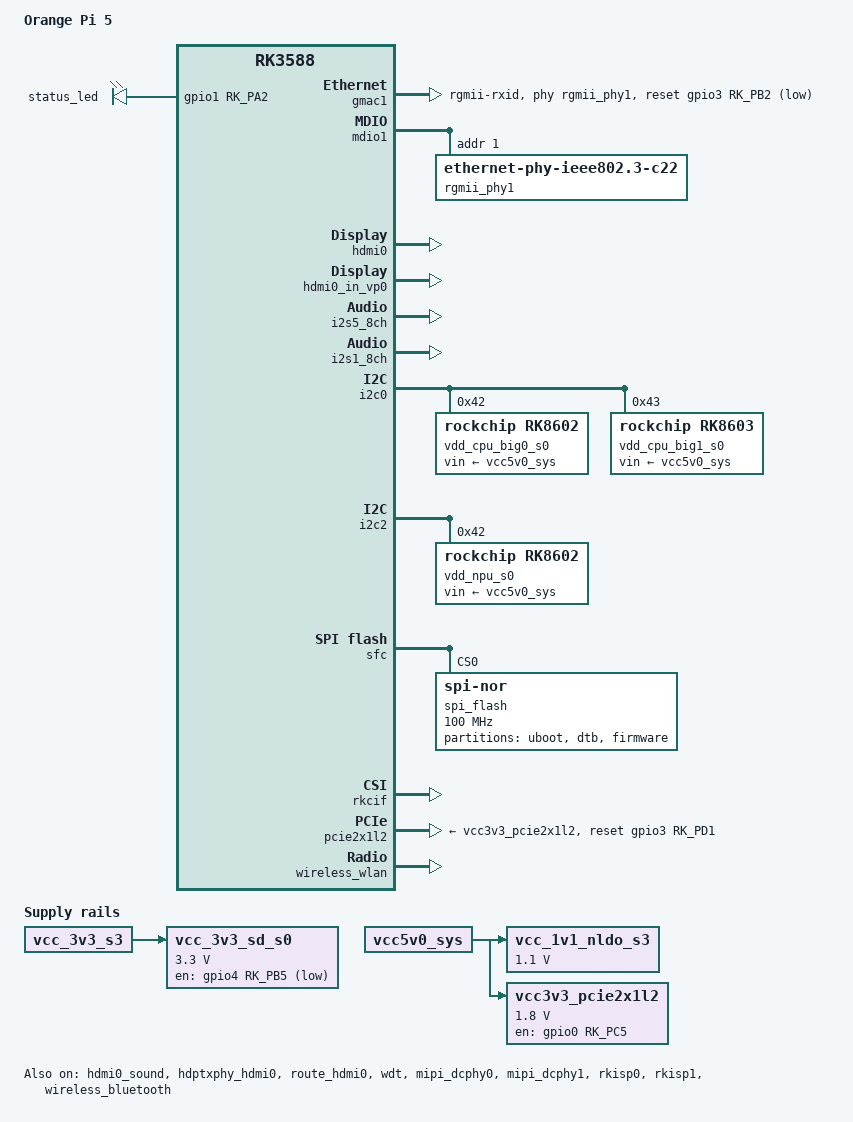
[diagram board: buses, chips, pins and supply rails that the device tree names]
// SPDX-License-Identifier: (GPL-2.0+ OR MIT)
/*
 * Copyright (c) 2021 Rockchip Electronics Co., Ltd.
 *
 */

/dts-v1/;

#include "rk3588s-orangepi-5.dtsi"
#include "rk3588-linux.dtsi"
#include "rk3588s-orangepi-5-lcd.dtsi"

#include "rk3588s-orangepi-5-camera1.dtsi"
#include "rk3588s-orangepi-5-camera2.dtsi"
#include "rk3588s-orangepi-5-camera3.dtsi"

/ {
	model = "Orange Pi 5";
	compatible = "rockchip,rk3588s-orangepi-5", "rockchip,rk3588";

	vcc_3v3_sd_s0: vcc-3v3-sd-s0 {
		compatible = "regulator-fixed";
		regulator-name = "vcc_3v3_sd_s0";
		regulator-min-microvolt = <3300000>;
		regulator-max-microvolt = <3300000>;
		gpios = <&gpio4 RK_PB5 GPIO_ACTIVE_LOW>;
		enable-active-low;
		vin-supply = <&vcc_3v3_s3>;
		regulator-state-mem {
			regulator-off-in-suspend;
		};
	};

	vcc_1v1_nldo_s3: vcc-1v1-nldo-s3 {
		compatible = "regulator-fixed";
		regulator-name = "vcc_1v1_nldo_s3";
		regulator-always-on;
		regulator-boot-on;
		regulator-min-microvolt = <1100000>;
		regulator-max-microvolt = <1100000>;
		vin-supply = <&vcc5v0_sys>;
	};

	vcc3v3_pcie2x1l2: vcc3v3-pcie2x1l2 {
		compatible = "regulator-fixed";
		regulator-name = "vcc3v3_pcie2x1l2";
		regulator-min-microvolt = <1800000>;
		regulator-max-microvolt = <1800000>;
		enable-active-high;
		regulator-boot-on;
		regulator-always-on;
		gpios = <&gpio0 RK_PC5 GPIO_ACTIVE_HIGH>;
		startup-delay-us = <50000>;
		vin-supply = <&vcc5v0_sys>;
	};

	leds: gpio-leds {
		compatible = "gpio-leds";
		pinctrl-names = "default";
		pinctrl-0 =<&leds_gpio>;
		status = "okay";

		led@1 {
			gpios = <&gpio1 RK_PA2 GPIO_ACTIVE_HIGH>;
			label = "status_led";
			linux,default-trigger = "heartbeat";
			linux,default-trigger-delay-ms = <0>;
		};
	};
};

&gmac1 {
	/* Use rgmii-rxid mode to disable rx delay inside Soc */
	phy-mode = "rgmii-rxid";
	clock_in_out = "output";

	snps,reset-gpio = <&gpio3 RK_PB2 GPIO_ACTIVE_LOW>;
	snps,reset-active-low;
	/* Reset time is 20ms, 100ms for rtl8211f */
	snps,reset-delays-us = <0 20000 100000>;

	pinctrl-names = "default";
	pinctrl-0 = <&gmac1_miim
	             &gmac1_tx_bus2
	             &gmac1_rx_bus2
	             &gmac1_rgmii_clk
	             &gmac1_rgmii_bus>;

	tx_delay = <0x42>;
	/* rx_delay = <0x3f>; */

	phy-handle = <&rgmii_phy1>;
	status = "okay";
};

&mdio1 {
	rgmii_phy1: phy@1 {
		compatible = "ethernet-phy-ieee802.3-c22";
		reg = <0x1>;
	};
};

&hdmi0 {
	enable-gpios = <&gpio4 RK_PB6 GPIO_ACTIVE_HIGH>;
	cec-enable;
	status = "okay";
};

&hdmi0_in_vp0 {
	status = "okay";
};

&hdmi0_sound {
	status = "okay";
};

&hdptxphy_hdmi0 {
	status = "okay";
};

&route_hdmi0{
	status = "okay";
};

&i2s5_8ch {
	status = "okay";
};

&i2s1_8ch {
	status = "okay";
	rockchip,i2s-tx-route = <3 2 1 0>;
	rockchip,i2s-rx-route = <1 3 2 0>;
	pinctrl-names = "default";
	pinctrl-0 = <&i2s1m0_sclk
	             &i2s1m0_lrck
	             &i2s1m0_sdi1
	             &i2s1m0_sdo3>;
};

&i2c0 {
	status = "okay";
	pinctrl-names = "default";
	pinctrl-0 = <&i2c0m2_xfer>;

	vdd_cpu_big0_s0: vdd_cpu_big0_mem_s0: rk8602@42 {
		compatible = "rockchip,rk8602";
		reg = <0x42>;
		vin-supply = <&vcc5v0_sys>;
		regulator-compatible = "rk860x-reg";
		regulator-name = "vdd_cpu_big0_s0";
		regulator-min-microvolt = <550000>;
		regulator-max-microvolt = <1050000>;
		regulator-ramp-delay = <2300>;
		rockchip,suspend-voltage-selector = <1>;
		regulator-boot-on;
		regulator-always-on;
		regulator-state-mem {
			regulator-off-in-suspend;
		};
	};

	vdd_cpu_big1_s0: vdd_cpu_big1_mem_s0: rk8603@43 {
		compatible = "rockchip,rk8603";
		reg = <0x43>;
		vin-supply = <&vcc5v0_sys>;
		regulator-compatible = "rk860x-reg";
		regulator-name = "vdd_cpu_big1_s0";
		regulator-min-microvolt = <550000>;
		regulator-max-microvolt = <1050000>;
		regulator-ramp-delay = <2300>;
		rockchip,suspend-voltage-selector = <1>;
		regulator-boot-on;
		regulator-always-on;
		regulator-state-mem {
			regulator-off-in-suspend;
		};
	};
};

&i2c2 {
	status = "okay";

	vdd_npu_s0: vdd_npu_mem_s0: rk8602@42 {
		compatible = "rockchip,rk8602";
		reg = <0x42>;
		vin-supply = <&vcc5v0_sys>;
		regulator-compatible = "rk860x-reg";
		regulator-name = "vdd_npu_s0";
		regulator-min-microvolt = <550000>;
		regulator-max-microvolt = <950000>;
		regulator-ramp-delay = <2300>;
		rockchip,suspend-voltage-selector = <1>;
		regulator-boot-on;
		regulator-always-on;
		regulator-state-mem {
			regulator-off-in-suspend;
		};
	};
};

/*
   pin3: GPIO1_B7
   pin5: GPIO1_B6
*/
&i2c5 {
	status = "disabled";
	pinctrl-names = "default";
	pinctrl-0 = <&i2c5m3_xfer>;
};

&uart1 {
	status = "disabled";
	pinctrl-names = "default";
	pinctrl-0 = <&uart1m1_xfer>;
};

&pwm13 {
	status = "disabled";
	pinctrl-names = "active";
	pinctrl-0 = <&pwm13m2_pins>;
};

/*
   pin7: GPIO1_C6
*/
&pwm15 {
	status = "disabled";
	pinctrl-names = "active";
	pinctrl-0 = <&pwm15m2_pins>;
};

/*
   pin11: GPIO4_B2
   pin13: GPIO4_B3
*/
&pwm14 {
	status = "disabled";
	pinctrl-names = "active";
	pinctrl-0 = <&pwm14m1_pins>;
};

&can1 {
	status = "disabled";
	pinctrl-names = "default";
	pinctrl-0 = <&can1m1_pins>;
	assigned-clocks = <&cru CLK_CAN1>;
	assigned-clock-rates = <200000000>;
};

/*
   pin15: GPIO0_D4
   pin12: GPIO0_D5
*/
&can2 {
	status = "disabled";
	pinctrl-names = "default";
	pinctrl-0 = <&can2m1_pins>;
	assigned-clocks = <&cru CLK_CAN2>;
	assigned-clock-rates = <200000000>;
};

/*
   pin19: GPIO1_C1
   pin21: GPIO1_C0
   pin23: GPIO1_C2
   pin24: GPIO1_C4
*/
&spi4 {
	status = "disabled";
	pinctrl-names = "default";
	pinctrl-0 = <&spi4m0_cs1 &spi4m0_pins>;
	assigned-clocks = <&cru CLK_SPI4>;
	assigned-clock-rates = <200000000>;
	num-cs = <2>;

	spi_dev@1 {
		compatible = "rockchip,spidev";
		reg = <1>;
		spi-max-frequency = <50000000>;
	};
};

&i2c3 {
	status = "disabled";
	pinctrl-names = "default";
	pinctrl-0 = <&i2c3m0_xfer>;
};

&uart3 {
	status = "disabled";
	pinctrl-names = "default";
	pinctrl-0 = <&uart3m0_xfer>;
};

&pwm3 {
	status = "disabled";
	pinctrl-names = "active";
	pinctrl-0 = <&pwm3m2_pins>;
	//pinctrl-0 = <&pwm3m0_pins>;
};

/*
   pin8:  GPIO4_A3
   pin10: GPIO4_A4
*/
&uart0 {
	status = "disabled";
	pinctrl-names = "default";
	pinctrl-0 = <&uart0m2_xfer>;
};

/*
   pin16: GPIO1_D3
   pin18: GPIO1_D2
*/
&uart4 {
	status = "disabled";
	pinctrl-names = "default";
	pinctrl-0 = <&uart4m0_xfer>;
};

&i2c1 {
	status = "disabled";
	pinctrl-names = "default";
	//pinctrl-0 = <&i2c1m4_xfer>;
	pinctrl-0 = <&i2c1m2_xfer>;
};

&pwm0 {
	status = "disabled";
	pinctrl-names = "active";
	pinctrl-0 = <&pwm0m1_pins>;
};

/*
   pin26: GPIO1_A3
*/
&pwm1 {
	status = "disabled";
	pinctrl-names = "active";
	//pinctrl-0 = <&pwm1m2_pins>;
	pinctrl-0 = <&pwm1m1_pins>;
};

/* watchdog */
&wdt {
        status = "okay";
};

&sfc {
	status = "okay";
	max-freq = <100000000>;
	#address-cells = <1>;
	#size-cells = <0>;
	pinctrl-names = "default";
	pinctrl-0 = <&fspim0_pins>;

	spi_flash: spi-flash@0 {
		#address-cells = <1>;
		#size-cells = <0>;
		compatible = "jedec,spi-nor";
		reg = <0x0>;
		spi-max-frequency = <100000000>;
		spi-tx-bus-width = <1>;
		spi-rx-bus-width = <4>;
		status = "okay";

		partitions {
			compatible = "fixed-partitions";
			#address-cells = <1>;
			#size-cells = <1>;

			uboot@0 {
				label = "uboot";
				reg = <0x0 0x200000>;
			};

			dtb@200000 {
				label = "dtb";
				reg = <0x200000 0x40000>;
			};

			firmware@240000 {
				compatible = "denx,uimage";
				label = "firmware";
				reg = <0x240000 0xdc0000>;
			};

		};
	};
};

&mipi_dcphy0 {
        status = "okay";
};

&mipi_dcphy1 {
        status = "okay";
};

&rkcif {
	status = "okay";
};

&rkcif_mmu {
	status = "okay";
};

&rkisp0 {
	status = "okay";
};

&isp0_mmu {
	status = "okay";
};

&rkisp1 {
	status = "okay";
};

&isp1_mmu {
	status = "okay";
};

&sata0 {
	pinctrl-names = "default";
	pinctrl-0 = <&sata_reset>;
	status = "disabled";
};

&pcie2x1l2 {
	reset-gpios = <&gpio3 RK_PD1 GPIO_ACTIVE_HIGH>;
	vpcie3v3-supply = <&vcc3v3_pcie2x1l2>;
	rockchip,skip-scan-in-resume;
	status = "okay";
};

&wireless_wlan {
	status = "okay";
};

&wireless_bluetooth {
	status = "okay";
};

&pinctrl
{
	gpio-func {
		leds_gpio: leds-gpio {
			rockchip,pins =
				<1 RK_PA2 RK_FUNC_GPIO &pcfg_pull_none>;
		};
	};
};
